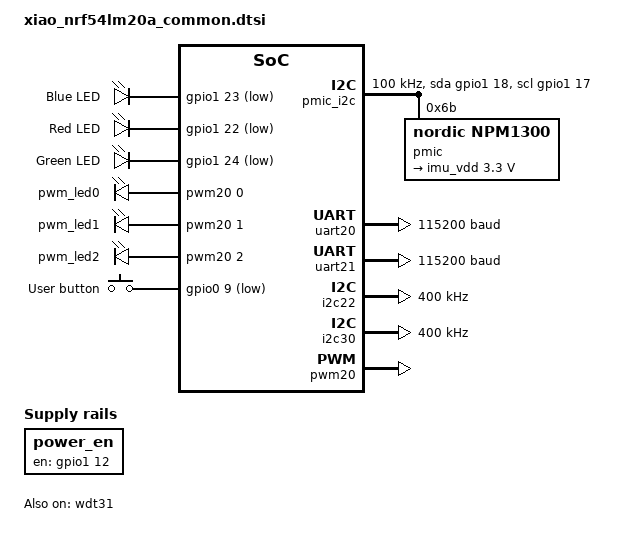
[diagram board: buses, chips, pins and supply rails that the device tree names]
/*
 * Copyright (c) 2025 Seeed Technology Co., Ltd.
 * SPDX-License-Identifier: Apache-2.0
 */

#include "xiao_nrf54lm20a-pinctrl.dtsi"
#include <zephyr/dt-bindings/regulator/npm13xx.h>

/ {
	leds {
		compatible = "gpio-leds";

		blue_led: led_0 {
			gpios = <&gpio1 23 GPIO_ACTIVE_LOW>;
			label = "Blue LED";
		};
		red_led: led_1 {
			gpios = <&gpio1 22 GPIO_ACTIVE_LOW>;
			label = "Red LED";
		};
		green_led: led_2 {
			gpios = <&gpio1 24 GPIO_ACTIVE_LOW>;
			label = "Green LED";
		};
	};

	pwmleds {
		compatible = "pwm-leds";

		pwm_led0: pwm_led_0 { pwms = <&pwm20 0 PWM_MSEC(1) PWM_POLARITY_INVERTED>; };
		pwm_led1: pwm_led_1 { pwms = <&pwm20 1 PWM_MSEC(1) PWM_POLARITY_INVERTED>; };
		pwm_led2: pwm_led_2 { pwms = <&pwm20 2 PWM_MSEC(1) PWM_POLARITY_INVERTED>; };
	};

	buttons {
		compatible = "gpio-keys";

		button0: button_0 {
			gpios = <&gpio0 9 (GPIO_PULL_UP | GPIO_ACTIVE_LOW)>;
			label = "User button";
			zephyr,code = <INPUT_KEY_0>;
		};
	};

	power_en: power-en {
		compatible = "regulator-fixed";
		regulator-name = "sensor-power-enable";
		enable-gpios = <&gpio1 12 GPIO_ACTIVE_HIGH>;
		regulator-boot-on;
	};

	pmic_i2c: pmic-i2c {
		compatible = "gpio-i2c";
		#address-cells = <1>;
		#size-cells = <0>;
		sda-gpios = <&gpio1 18 GPIO_ACTIVE_HIGH>;
		scl-gpios = <&gpio1 17 GPIO_ACTIVE_HIGH>;
		clock-frequency = <100000>;
		status = "okay";

		pmic: npm1300@6b {
			compatible = "nordic,npm1300";
			reg = <0x6b>;

			pmic_charger: charger {
				compatible = "nordic,npm1300-charger";
				term-microvolt = <4200000>;
				term-warm-microvolt = <4000000>;
				current-microamp = <150000>;
				dischg-limit-microamp = <1000000>;
				vbus-limit-microamp = <500000>;
				thermistor-ohms = <10000>;
				thermistor-beta = <3380>;
				charging-enable;
			};

			regulators {
				compatible = "nordic,npm1300-regulator";

				imu_vdd: LDO1 {
					regulator-init-microvolt = <3300000>;
					regulator-min-microvolt = <3300000>;
					regulator-max-microvolt = <3300000>;
					regulator-initial-mode = <NPM13XX_LDSW_MODE_LDO>;
					regulator-boot-on;
				};
			};
		};
	};

	aliases {
		led0 = &blue_led;
		led1 = &red_led;
		led2 = &green_led;
		pwm-led0 = &pwm_led0;
		pwm-led1 = &pwm_led1;
		pwm-led2 = &pwm_led2;
		sw0 = &button0;
		watchdog0 = &wdt31;
	};
};

&uart20 {
	status = "okay";
	current-speed = <115200>;
	pinctrl-0 = <&uart20_default>;
	pinctrl-1 = <&uart20_sleep>;
	pinctrl-names = "default", "sleep";
};

&uart21 {
	current-speed = <115200>;
	pinctrl-0 = <&uart21_default>;
	pinctrl-1 = <&uart21_sleep>;
	pinctrl-names = "default", "sleep";
};

&i2c22 {
	status = "okay";
	pinctrl-0 = <&i2c22_default>;
	pinctrl-1 = <&i2c22_sleep>;
	pinctrl-names = "default", "sleep";
	clock-frequency = <I2C_BITRATE_FAST>;
	zephyr,concat-buf-size = <1023>;
	zephyr,flash-buf-max-size = <1023>;
};

&i2c30 {
	pinctrl-0 = <&i2c30_default>;
	pinctrl-1 = <&i2c30_sleep>;
	pinctrl-names = "default", "sleep";
	clock-frequency = <I2C_BITRATE_FAST>;
	zephyr,concat-buf-size = <1023>;
	zephyr,flash-buf-max-size = <1023>;
};

&spi00 {
	pinctrl-0 = <&spi00_default>;
	pinctrl-1 = <&spi00_sleep>;
	pinctrl-names = "default", "sleep";
};

&spi23 {
	pinctrl-0 = <&spi23_default>;
	pinctrl-1 = <&spi23_sleep>;
	pinctrl-names = "default", "sleep";
};

&pwm20 {
	status = "okay";
	pinctrl-0 = <&pwm20_default>;
	pinctrl-1 = <&pwm20_sleep>;
	pinctrl-names = "default", "sleep";
};

&wdt31 {
	status = "okay";
};

